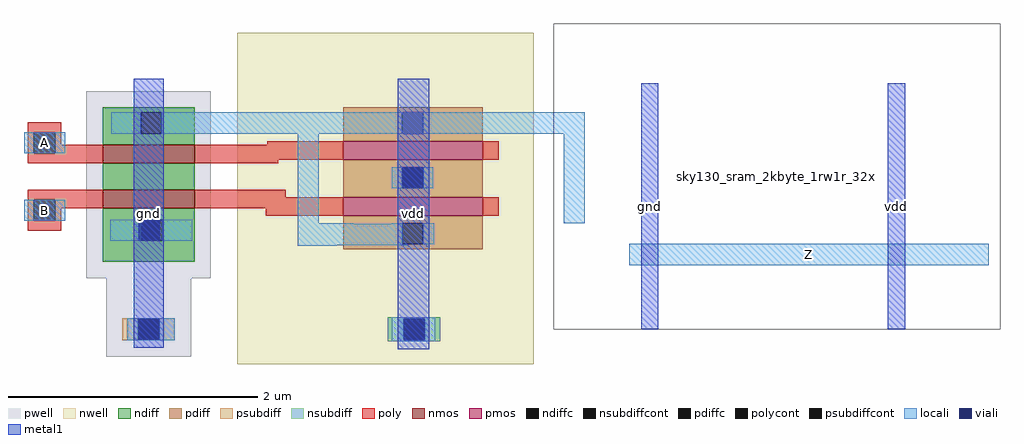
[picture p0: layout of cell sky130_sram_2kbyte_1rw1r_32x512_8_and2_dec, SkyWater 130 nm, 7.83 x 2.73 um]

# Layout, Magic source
magic
tech sky130A
magscale 1 2
<< locali >>
rect 70 282 136 316
rect 549 314 970 348
rect 70 174 136 208
rect 936 170 970 314
rect 1041 103 1618 137
<< metal1 >>
rect 246 -30 294 402
rect 670 -32 720 402
rect 1060 0 1088 395
rect 1456 0 1484 395
use sky130_sram_2kbyte_1rw1r_32x512_8_pinv_dec  sky130_sram_2kbyte_1rw1r_32x512_8_pinv_dec_0
transform 1 0 876 0 1 0
box 44 0 760 490
use sky130_fd_bd_sram__openram_dp_nand2_dec  sky130_fd_bd_sram__openram_dp_nand2_dec_0
transform 1 0 0 0 1 0
box 70 -56 888 476
<< labels >>
rlabel metal1 s 670 -32 720 402 4 vdd
port 1 nsew
rlabel metal1 s 1456 0 1484 395 4 vdd
port 1 nsew
rlabel metal1 s 246 -30 294 402 4 gnd
port 2 nsew
rlabel metal1 s 1060 0 1088 395 4 gnd
port 2 nsew
rlabel locali s 1329 120 1329 120 4 Z
port 3 nsew
rlabel locali s 103 299 103 299 4 A
port 4 nsew
rlabel locali s 103 191 103 191 4 B
port 5 nsew
<< properties >>
string FIXED_BBOX 0 0 1618 395
string GDS_FILE $PDKPATH/libs.ref/sky130_sram_macros/gds/sky130_sram_2kbyte_1rw1r_32x512_8.gds
string GDS_END 60164
string GDS_START 58678
<< end >>

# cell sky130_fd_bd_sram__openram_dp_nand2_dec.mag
magic
tech sky130A
magscale 1 2
<< nwell >>
rect 412 -56 888 476
<< pwell >>
rect 170 82 370 382
rect 202 -44 338 82
<< nmos >>
rect 196 266 344 296
rect 196 194 344 224
<< pmos >>
rect 582 272 806 302
rect 582 182 806 212
<< ndiff >>
rect 196 348 344 356
rect 196 314 257 348
rect 291 314 344 348
rect 196 296 344 314
rect 196 224 344 266
rect 196 176 344 194
rect 196 142 259 176
rect 293 142 344 176
rect 196 108 344 142
<< pdiff >>
rect 582 348 806 356
rect 582 314 677 348
rect 711 314 806 348
rect 582 302 806 314
rect 582 260 806 272
rect 582 226 677 260
rect 711 226 806 260
rect 582 212 806 226
rect 582 170 806 182
rect 582 136 677 170
rect 711 136 806 170
rect 582 128 806 136
<< ndiffc >>
rect 257 314 291 348
rect 259 142 293 176
<< pdiffc >>
rect 677 314 711 348
rect 677 226 711 260
rect 677 136 711 170
<< psubdiff >>
rect 228 17 312 18
rect 228 -17 253 17
rect 287 -17 312 17
rect 228 -18 312 -17
<< nsubdiff >>
rect 654 17 738 19
rect 654 -17 679 17
rect 713 -17 738 17
rect 654 -19 738 -17
<< psubdiffcont >>
rect 253 -17 287 17
<< nsubdiffcont >>
rect 679 -17 713 17
<< poly >>
rect 76 316 130 332
rect 76 282 86 316
rect 120 296 130 316
rect 460 296 582 302
rect 120 282 196 296
rect 76 266 196 282
rect 344 272 582 296
rect 806 272 832 302
rect 344 266 478 272
rect 76 208 196 224
rect 76 174 86 208
rect 120 194 196 208
rect 344 212 490 224
rect 344 194 582 212
rect 120 174 130 194
rect 76 158 130 174
rect 458 182 582 194
rect 806 182 832 212
<< polycont >>
rect 86 282 120 316
rect 86 174 120 208
<< locali >>
rect 70 282 86 316
rect 120 282 136 316
rect 210 314 257 348
rect 291 314 677 348
rect 711 314 888 348
rect 70 174 86 208
rect 120 174 136 208
rect 208 142 254 176
rect 293 142 340 176
rect 509 170 543 314
rect 660 226 677 260
rect 711 226 727 260
rect 509 169 598 170
rect 660 169 677 170
rect 509 136 677 169
rect 711 136 728 170
rect 509 135 685 136
rect 509 134 572 135
rect 236 17 312 18
rect 236 -17 253 17
rect 287 -17 312 17
rect 236 -18 312 -17
rect 660 17 730 19
rect 660 -17 679 17
rect 713 -17 730 17
rect 660 -19 730 -17
<< viali >>
rect 254 142 259 176
rect 259 142 288 176
rect 677 226 711 260
rect 253 -17 287 17
rect 679 -17 713 17
<< metal1 >>
rect 246 176 294 402
rect 246 142 254 176
rect 288 142 294 176
rect 246 17 294 142
rect 246 -17 253 17
rect 287 -17 294 17
rect 246 -30 294 -17
rect 670 260 720 402
rect 670 226 677 260
rect 711 226 720 260
rect 670 17 720 226
rect 670 -17 679 17
rect 713 -17 720 17
rect 670 -32 720 -17
<< labels >>
rlabel metal1 s 670 -32 720 402 4 vdd
port 25 nsew
rlabel metal1 s 246 -30 294 402 4 gnd
port 24 nsew
rlabel metal1 s 268 82 268 82 4 GND
port 5 nsew
rlabel metal1 s 696 94 696 94 4 VDD
port 4 nsew
rlabel locali s 103 299 103 299 4 A
port 1 nsew
rlabel locali s 103 191 103 191 4 B
port 2 nsew
rlabel locali s 549 331 549 331 4 Z
port 3 nsew
rlabel locali s 103 191 103 191 4 B
port 2 nsew
rlabel locali s 103 299 103 299 4 A
port 1 nsew
rlabel locali s 854 331 854 331 4 Z
port 3 nsew
<< properties >>
string FIXED_BBOX 0 0 876 395
string GDS_FILE $PDKPATH/libs.ref/sky130_sram_macros/gds/sky130_sram_2kbyte_1rw1r_32x512_8.gds
string GDS_END 19544
string GDS_START 15636
<< end >>
